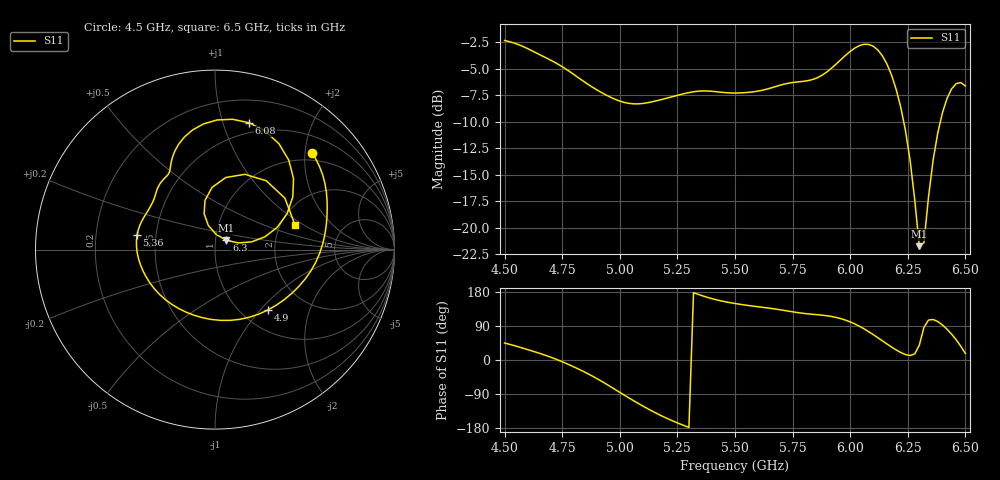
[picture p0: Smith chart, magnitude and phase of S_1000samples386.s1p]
! TOUCHSTONE file generated by CST MICROWAVE STUDIO
! Date and time: Thu Oct 27 23:58:28 2022
! Project name: L.cst
! Parameters = {Di=1.27; Epsilon_r=1.56; InnerDiameter=1.27; Length=2; Lf=10; Lg=60; OuterConductorThickness=0.2921; OuterDiameter=3.6; Wf=3; Wp=41.2; de=1.5; df=6.8; g=0.8; gx=2.38322; gy=0.623028; h=2.34; hf=1.524; px=12.3809; py=11.7448; w=9.7; wx=9.99766; wy=11.1218}
! Header version: 2018
! Port assignment regex: !\s*Touchstone port\s*([0-9]+)\s*=\s*(CST MWS port|CST DS port)\s*([0-9]+|Zmin|Zmax)\s*\(\"(.*)\"\)(\s*mode\s*([0-9]+))?.*
! Touchstone port assignment:
! Touchstone port 1 = CST MWS port 1 ("")
# GHz S DB R 50
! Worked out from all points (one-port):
!   101 points, 4.5 GHz to 6.5 GHz, reference 50 ohm
!   lowest |S11| = -21.7 dB at 6.3 GHz (marker M1), VSWR 1.18, Z = 56.5 + j5.89 ohm
!   |S11| at or under -10 dB: 6.232 GHz to 6.391 GHz (159.2 MHz wide, 2.52 % of centre)
!   S11 on the Smith chart (normalised r, x): 4.5 GHz: 0.84, +2.16; 4.9 GHz: 1.31, -1.10; 5.36 GHz: 0.39, +0.08; 6.08 GHz: 0.40, +1.22; 6.3 GHz: 1.13, +0.12; 6.5 GHz: 2.39, +0.85
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4.5  -2.34 44.8
4.62  -3.33 23.7
4.76  -4.95 -7.2
4.9  -6.99 -48.8
5  -8.05 -85.4
5.14  -8.12 -134.7
5.26  -7.46 -168.4
5.36  -7.10 169.2
5.5  -7.30 149.1
5.76  -6.28 126.2
5.9  -5.29 116.7
5.96  -4.14 109.1
6  -3.37 100.6
6.04  -2.82 89.1
6.08  -2.71 74.9
6.12  -3.24 58.8
6.16  -4.58 42.1
6.18  -5.63 34.0
6.22  -8.69 19.6
6.26  -13.63 11.9
6.3  -21.73 39.2
6.32  -21.41 85.9
6.36  -13.61 106.8
6.38  -11.07 101.5
6.4  -9.19 92.7
6.44  -6.91 68.3
6.46  -6.41 53.3
6.5  -6.62 17.3
